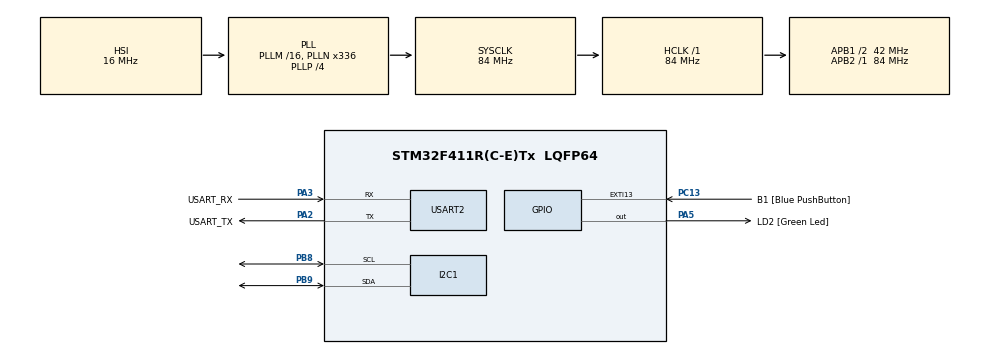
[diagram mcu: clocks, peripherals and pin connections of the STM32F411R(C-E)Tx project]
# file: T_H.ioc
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Mcu.Family=STM32F4
Mcu.Name=STM32F411R(C-E)Tx
Mcu.Package=LQFP64
NVIC.PriorityGroup=NVIC_PRIORITYGROUP_0
PA13.GPIO_Label=TMS
PA13.Mode=Serial_Wire
PA13.Signal=SYS_JTMS-SWDIO
PA14.GPIO_Label=TCK
PA14.Mode=Serial_Wire
PA14.Signal=SYS_JTCK-SWCLK
PA2.GPIO_Label=USART_TX
PA2.Mode=Asynchronous
PA2.Signal=USART2_TX
PA3.GPIO_Label=USART_RX
PA3.Mode=Asynchronous
PA3.Signal=USART2_RX
PA5.GPIO_Label=LD2 [Green Led]
PA5.Signal=GPIO_Output
PB3.GPIO_Label=SWO
PB3.Signal=SYS_JTDO-SWO
PB8.GPIO_Pu=GPIO_PULLUP
PB8.Mode=I2C
PB8.Signal=I2C1_SCL
PB9.GPIO_Pu=GPIO_PULLUP
PB9.Mode=I2C
PB9.Signal=I2C1_SDA
PC13-ANTI_TAMP.GPIO_Label=B1 [Blue PushButton]
PC13-ANTI_TAMP.GPIO_ModeDefaultEXTI=GPIO_MODE_IT_FALLING
PC13-ANTI_TAMP.Signal=GPXTI13
PC14-OSC32_IN.Mode=LSE-External-Oscillator
PC14-OSC32_IN.Signal=RCC_OSC32_IN
PC15-OSC32_OUT.Mode=LSE-External-Oscillator
PC15-OSC32_OUT.Signal=RCC_OSC32_OUT
PH0\ -\ OSC_IN.Mode=HSE-External-Clock-Source
PH0\ -\ OSC_IN.Signal=RCC_OSC_IN
PH1\ -\ OSC_OUT.Mode=HSE-External-Clock-Source
PH1\ -\ OSC_OUT.Signal=RCC_OSC_OUT
ProjectManager.HeapSize=0x200
ProjectManager.StackSize=0x400
ProjectManager.TargetToolchain=STM32CubeIDE
RCC.48MHZClocksFreq_Value=84000000
RCC.AHBFreq_Value=84000000
RCC.APB1CLKDivider=RCC_HCLK_DIV2
RCC.APB1Freq_Value=42000000
RCC.APB1TimFreq_Value=84000000
RCC.APB2Freq_Value=84000000
RCC.APB2TimFreq_Value=84000000
RCC.CortexFreq_Value=84000000
RCC.FLatency-AdvancedSettings=FLASH_LATENCY_2
RCC.HCLKFreq_Value=84000000
RCC.HSE_VALUE=8000000
RCC.HSI_VALUE=16000000
RCC.PLLN=336
RCC.PLLP=RCC_PLLP_DIV4
RCC.SYSCLKFreq_VALUE=84000000
RCC.SYSCLKSource=RCC_SYSCLKSOURCE_PLLCLK
RCC.VCOOutputFreq_Value=336000000
USART2.VirtualMode=VM_ASYNC
board=NUCLEO-F411RE

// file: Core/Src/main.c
/* USER CODE BEGIN Header */
/**
 ******************************************************************************
 * @file           : main.c
 * @brief          : Main program body
 ******************************************************************************
 * @attention
 *
 * Copyright (c) 2023 STMicroelectronics.
 * All rights reserved.
 *
 * This software is licensed under terms that can be found in the LICENSE file
 * in the root directory of this software component.
 * If no LICENSE file comes with this software, it is provided AS-IS.
 *
 ******************************************************************************
 */
/* USER CODE END Header */
#include "main.h"

/* USER CODE BEGIN Includes */
#include "stdio.h"
#include "string.h"
#include "HTU21.h"
/* USER CODE END Includes */

I2C_HandleTypeDef hi2c1;

UART_HandleTypeDef huart2;

void SystemClock_Config(void);
static void MX_GPIO_Init(void);
static void MX_USART2_UART_Init(void);
static void MX_I2C1_Init(void);

/* USER CODE BEGIN 0 */
I2C_HandleTypeDef hi2c1;

UART_HandleTypeDef huart2;
/* USER CODE END 0 */

int main(void)
{

  /* MCU Configuration--------------------------------------------------------*/

  /* Reset of all peripherals, Initializes the Flash interface and the Systick. */
  HAL_Init();

  /* Configure the system clock */
  SystemClock_Config();

  /* Initialize all configured peripherals */
  MX_GPIO_Init();
  MX_USART2_UART_Init();
  MX_I2C1_Init();
  /* USER CODE BEGIN 2 */
  HAL_Delay(1000);
  HTU21_Reset();
  //  while(HTU21_Init()!=0x2)
  //  {
  //	  printf("Initializing HTU21 Sensor...!\r\n");
  //	  HAL_Delay(100);
  //  }
  printf("HTU21 Sensor Initialization Success!\r\n");
  /* USER CODE END 2 */

  /* Infinite loop */
  /* USER CODE BEGIN WHILE */
  while (1)
  {
    float HTU21_Temp_Value = HTU21_GetTemp();
    printf("The Temperature reads=%0.2f\r\n", HTU21_Temp_Value);
    HAL_Delay(100);

    float HTU21_Hum_Value = HTU21_GetHum();
    printf("The Humidity reads=%0.2f\r\n", HTU21_Hum_Value);
    HAL_Delay(100);
    /* USER CODE END WHILE */

  }
}

void SystemClock_Config(void)
{
  RCC_OscInitTypeDef RCC_OscInitStruct = {0};
  RCC_ClkInitTypeDef RCC_ClkInitStruct = {0};

  /** Configure the main internal regulator output voltage
   */
  __HAL_RCC_PWR_CLK_ENABLE();
  __HAL_PWR_VOLTAGESCALING_CONFIG(PWR_REGULATOR_VOLTAGE_SCALE1);

  /** Initializes the RCC Oscillators according to the specified parameters
   * in the RCC_OscInitTypeDef structure.
   */
  RCC_OscInitStruct.OscillatorType = RCC_OSCILLATORTYPE_HSI;
  RCC_OscInitStruct.HSIState = RCC_HSI_ON;
  RCC_OscInitStruct.HSICalibrationValue = RCC_HSICALIBRATION_DEFAULT;
  RCC_OscInitStruct.PLL.PLLState = RCC_PLL_ON;
  RCC_OscInitStruct.PLL.PLLSource = RCC_PLLSOURCE_HSI;
  RCC_OscInitStruct.PLL.PLLM = 16;
  RCC_OscInitStruct.PLL.PLLN = 336;
  RCC_OscInitStruct.PLL.PLLP = RCC_PLLP_DIV4;
  RCC_OscInitStruct.PLL.PLLQ = 4;
  if (HAL_RCC_OscConfig(&RCC_OscInitStruct) != HAL_OK)
  {
    Error_Handler();
  }

  /** Initializes the CPU, AHB and APB buses clocks
   */
  RCC_ClkInitStruct.ClockType = RCC_CLOCKTYPE_HCLK | RCC_CLOCKTYPE_SYSCLK | RCC_CLOCKTYPE_PCLK1 | RCC_CLOCKTYPE_PCLK2;
  RCC_ClkInitStruct.SYSCLKSource = RCC_SYSCLKSOURCE_PLLCLK;
  RCC_ClkInitStruct.AHBCLKDivider = RCC_SYSCLK_DIV1;
  RCC_ClkInitStruct.APB1CLKDivider = RCC_HCLK_DIV2;
  RCC_ClkInitStruct.APB2CLKDivider = RCC_HCLK_DIV1;

  if (HAL_RCC_ClockConfig(&RCC_ClkInitStruct, FLASH_LATENCY_2) != HAL_OK)
  {
    Error_Handler();
  }
}

static void MX_I2C1_Init(void)
{

  hi2c1.Instance = I2C1;
  hi2c1.Init.ClockSpeed = 100000;
  hi2c1.Init.DutyCycle = I2C_DUTYCYCLE_2;
  hi2c1.Init.OwnAddress1 = 0;
  hi2c1.Init.AddressingMode = I2C_ADDRESSINGMODE_7BIT;
  hi2c1.Init.DualAddressMode = I2C_DUALADDRESS_DISABLE;
  hi2c1.Init.OwnAddress2 = 0;
  hi2c1.Init.GeneralCallMode = I2C_GENERALCALL_DISABLE;
  hi2c1.Init.NoStretchMode = I2C_NOSTRETCH_DISABLE;
  if (HAL_I2C_Init(&hi2c1) != HAL_OK)
  {
    Error_Handler();
  }
}

static void MX_USART2_UART_Init(void)
{

  huart2.Instance = USART2;
  huart2.Init.BaudRate = 115200;
  huart2.Init.WordLength = UART_WORDLENGTH_8B;
  huart2.Init.StopBits = UART_STOPBITS_1;
  huart2.Init.Parity = UART_PARITY_NONE;
  huart2.Init.Mode = UART_MODE_TX_RX;
  huart2.Init.HwFlowCtl = UART_HWCONTROL_NONE;
  huart2.Init.OverSampling = UART_OVERSAMPLING_16;
  if (HAL_UART_Init(&huart2) != HAL_OK)
  {
    Error_Handler();
  }
}

static void MX_GPIO_Init(void)
{
  GPIO_InitTypeDef GPIO_InitStruct = {0};

  /* GPIO Ports Clock Enable */
  __HAL_RCC_GPIOC_CLK_ENABLE();
  __HAL_RCC_GPIOH_CLK_ENABLE();
  __HAL_RCC_GPIOA_CLK_ENABLE();
  __HAL_RCC_GPIOB_CLK_ENABLE();

  /*Configure GPIO pin Output Level */
  HAL_GPIO_WritePin(LD2_GPIO_Port, LD2_Pin, GPIO_PIN_RESET);

  /*Configure GPIO pin : B1_Pin */
  GPIO_InitStruct.Pin = B1_Pin;
  GPIO_InitStruct.Mode = GPIO_MODE_IT_FALLING;
  GPIO_InitStruct.Pull = GPIO_NOPULL;
  HAL_GPIO_Init(B1_GPIO_Port, &GPIO_InitStruct);

  /*Configure GPIO pin : LD2_Pin */
  GPIO_InitStruct.Pin = LD2_Pin;
  GPIO_InitStruct.Mode = GPIO_MODE_OUTPUT_PP;
  GPIO_InitStruct.Pull = GPIO_NOPULL;
  GPIO_InitStruct.Speed = GPIO_SPEED_FREQ_LOW;
  HAL_GPIO_Init(LD2_GPIO_Port, &GPIO_InitStruct);

}

/* USER CODE BEGIN 4 */
int _write(int fd, char *ptr, int len)
{
  HAL_UART_Transmit(&huart2, (uint8_t *)ptr, len, HAL_MAX_DELAY);
  return len;
}
/* USER CODE END 4 */

void Error_Handler(void)
{
  __disable_irq();
  while (1)
  {
  }
}
